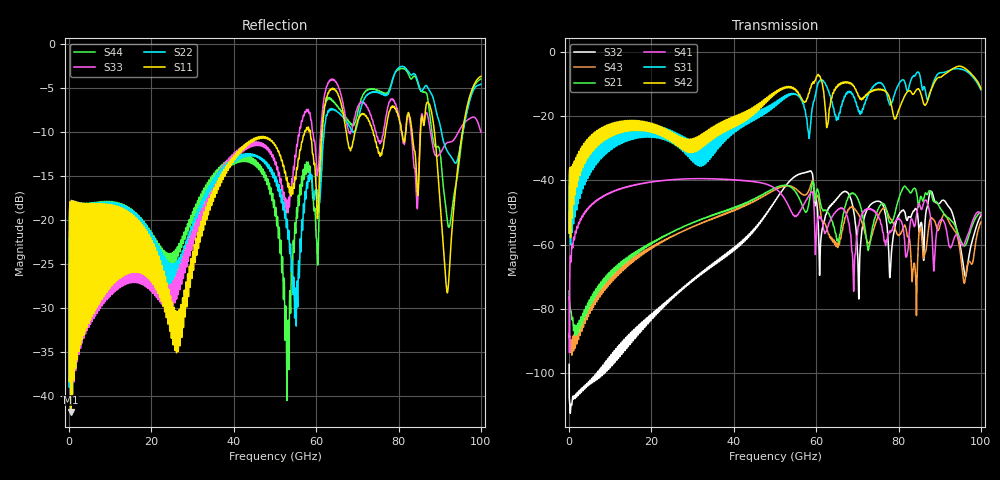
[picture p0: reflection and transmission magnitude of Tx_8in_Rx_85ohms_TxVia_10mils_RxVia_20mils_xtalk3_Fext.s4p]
! Info: Touchstone file created by Circ.  Input file=Tx_8in_Rx_85ohms_TxVia_10mils_RxVia_20mils.circ
# Hz S RI R 50
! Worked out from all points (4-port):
!   10000 points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, 10 MHz to 100 GHz, reference 50 ohm
!   strongest paths, dB at 10 MHz, 25.01 GHz, 50.01 GHz, 75.01 GHz, 100 GHz:
!     S42: -56.4, -25.2, -12.4, -11.8, -11.5
!     S31: -56.5, -24.7, -15.6, -9.7, -11.8
!     S41: -76.4, -39.8, -42.5, -51.0, -50.9
!     S21: -74.4, -56.1, -42.4, -49.1, -50.1
!     S43: -87.6, -57.5, -43.0, -51.4, -53.0
!     S32: -97.3, -76.3, -46.5, -46.5, -50.9
!   lowest |S11| = -41.8 dB at 400 MHz (marker M1), VSWR 1.02, Z = 49.4 - j0.482 ohm
!   |S11| at or under -10 dB: start of sweep to 57.2 GHz; 73.83 GHz to 76.81 GHz (2.98 GHz wide, 3.96 % of centre); 88.73 GHz to 95.51 GHz (6.782 GHz wide, 7.36 % of centre) (the widest 3 of 7)
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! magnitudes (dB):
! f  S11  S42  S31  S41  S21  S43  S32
! 10 MHz  -38.4  -56.4  -56.5  -76.4  -74.4  -87.6  -97.3
! 400 MHz  -41.8  -44.7  -44.7  -64.6  -80.9  -91.6  -110.6
! 13.17 GHz  -25.8  -22.9  -24.3  -42.3  -65.8  -67.2  -93.6
! 58.27 GHz  -9.9  -12.9  -27.0  -44.6  -46.9  -43.0  -37.1
! 70.36 GHz  -8.4  -13.8  -18.5  -54.0  -46.5  -50.8  -76.5
! 91.84 GHz  -28.3  -6.4  -6.1  -57.2  -51.5  -51.8  -47.6
! 100 GHz  -3.7  -11.5  -11.8  -50.9  -50.1  -53.0  -50.9
